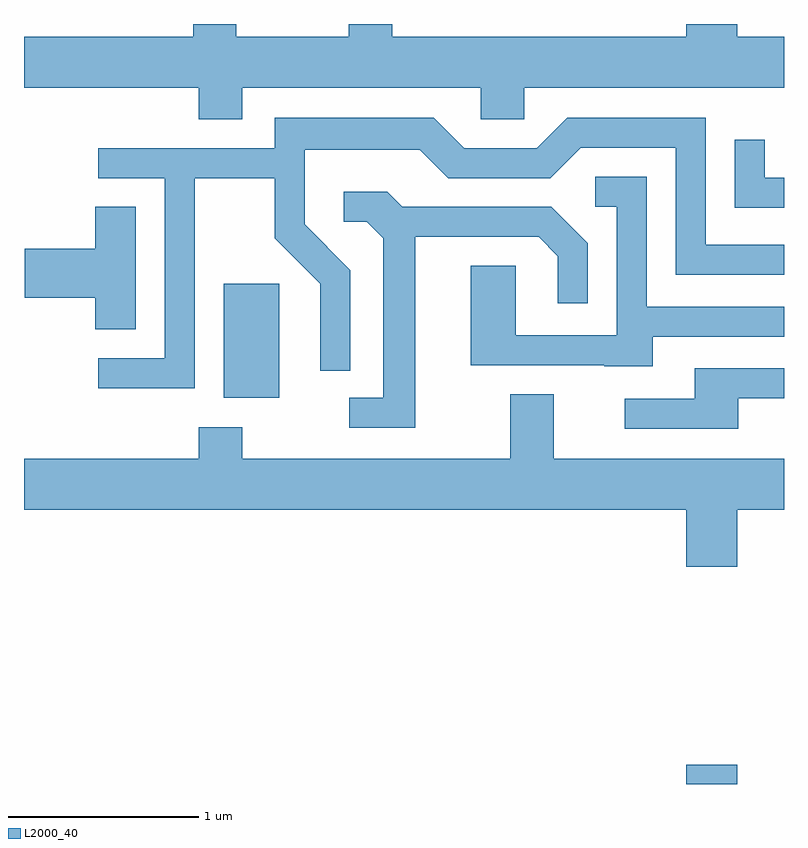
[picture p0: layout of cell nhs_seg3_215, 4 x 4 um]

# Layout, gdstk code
import gdstk
lib = gdstk.Library(unit=1e-6, precision=1e-09)
def R(c, l, rs):  # rectangles x0, y0, x1, y1
    for r in rs: c.add(gdstk.rectangle(r[:2], r[2:], *l))
def P(c, l, *ps):  # polygons
    for p in ps: c.add(gdstk.Polygon(p, *l))
L2000_40 = (2000, 40)

nhs_seg3_215 = lib.new_cell('nhs_seg3_215')
R(nhs_seg3_215, L2000_40, [(195.096,1137.892,195.364,1137.994), (192.661,1139.926,192.954,1140.524)])
P(nhs_seg3_215, L2000_40, [(192.759,1141.556),(194.016,1141.556),(194.016,1141.391),(194.244,1141.391),(194.244,1141.556),(195.611,1141.556),(195.611,1141.824),(195.364,1141.824),(195.364,1141.892),(195.096,1141.892),(195.096,1141.824),(193.549,1141.824),(193.549,1141.892),(193.321,1141.892),(193.321,1141.824),(192.729,1141.824),(192.729,1141.892),(192.501,1141.892),(192.501,1141.824),(191.611,1141.824),(191.611,1141.556),(192.531,1141.556),(192.531,1141.391),(192.759,1141.391)],
  [(192.509,1141.081),(192.931,1141.081),(192.931,1140.764),(193.171,1140.524),(193.171,1140.068),(193.329,1140.068),(193.329,1140.597),(193.089,1140.837),(193.089,1141.231),(193.694,1141.231),(193.844,1141.081),(194.382,1141.081),(194.542,1141.241),(195.041,1141.241),(195.041,1140.571),(195.611,1140.571),(195.611,1140.729),(195.199,1140.729),(195.199,1141.399),(194.469,1141.399),(194.309,1141.239),(193.927,1141.239),(193.767,1141.399),(192.931,1141.399),(192.931,1141.239),(192.003,1141.239),(192.003,1141.081),(192.351,1141.081),(192.351,1140.134),(192.003,1140.134),(192.003,1139.976),(192.509,1139.976)],
  [(195.611,1141.084),(195.509,1141.084),(195.509,1141.283),(195.351,1141.283),(195.351,1140.926),(195.611,1140.926)],
  [(194.919,1140.246),(195.611,1140.246),(195.611,1140.404),(194.889,1140.404),(194.889,1141.089),(194.618,1141.089),(194.618,1140.931),(194.731,1140.931),(194.731,1140.254),(194.199,1140.254),(194.199,1140.619),(193.961,1140.619),(193.961,1140.096),(194.665,1140.096),(194.665,1140.091),(194.919,1140.091)],
  [(193.669,1140.771),(194.319,1140.771),(194.421,1140.669),(194.421,1140.423),(194.579,1140.423),(194.579,1140.737),(194.387,1140.929),(193.602,1140.929),(193.522,1141.009),(193.293,1141.009),(193.293,1140.851),(193.414,1140.851),(193.501,1140.764),(193.501,1139.924),(193.323,1139.924),(193.323,1139.766),(193.669,1139.766)],
  [(192.199,1140.929),(191.986,1140.929),(191.986,1140.709),(191.616,1140.709),(191.616,1140.451),(191.986,1140.451),(191.986,1140.286),(192.199,1140.286)],
  [(195.369,1139.921),(195.611,1139.921),(195.611,1140.079),(195.141,1140.079),(195.141,1139.919),(194.773,1139.919),(194.773,1139.761),(195.369,1139.761)],
  [(195.364,1139.336),(195.611,1139.336),(195.611,1139.604),(194.399,1139.604),(194.399,1139.944),(194.171,1139.944),(194.171,1139.604),(192.759,1139.604),(192.759,1139.769),(192.531,1139.769),(192.531,1139.604),(191.611,1139.604),(191.611,1139.336),(195.096,1139.336),(195.096,1139.036),(195.364,1139.036)])

lib.write_gds('nhs_seg3_215.gds')
